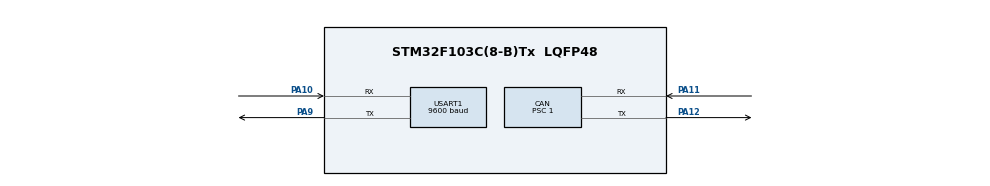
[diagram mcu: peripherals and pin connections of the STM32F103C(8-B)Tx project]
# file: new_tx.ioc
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CAN.BS1=CAN_BS1_11TQ
CAN.BS2=CAN_BS2_4TQ
CAN.CalculateBaudRate=500000
CAN.CalculateTimeBit=2000
CAN.CalculateTimeQuantum=125.0
CAN.Prescaler=1
Mcu.Family=STM32F1
Mcu.Name=STM32F103C(8-B)Tx
Mcu.Package=LQFP48
NVIC.PriorityGroup=NVIC_PRIORITYGROUP_4
NVIC.USB_LP_CAN1_RX0_IRQn=true\:0\:0\:false\:false\:true\:true\:true\:true
PA10.Mode=Asynchronous
PA10.Signal=USART1_RX
PA11.Mode=CAN_Activate
PA11.Signal=CAN_RX
PA12.Mode=CAN_Activate
PA12.Signal=CAN_TX
PA9.Mode=Asynchronous
PA9.Signal=USART1_TX
ProjectManager.HeapSize=0x200
ProjectManager.StackSize=0x400
ProjectManager.TargetToolchain=MDK-ARM V5.32
RCC.APB1Freq_Value=8000000
RCC.APB2Freq_Value=8000000
USART1.BaudRate=9600
USART1.VirtualMode=VM_ASYNC
VP_SYS_VS_ND.Mode=No_Debug
board=custom

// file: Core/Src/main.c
/* USER CODE BEGIN Header */
/**
  ******************************************************************************
  * @file           : main.c
  * @brief          : Main program body
  ******************************************************************************
  * @attention
  *
  * Copyright (c) 2023 STMicroelectronics.
  * All rights reserved.
  *
  * This software is li*********************************************************
  */
/* USER CODE END Header */
#include "main.h"
#include "Bootloader.h"
#include "stm32f1xx_hal_uart.h"
volatile int  StdIdVal,x;
uint32_t rcvData[2];
volatile uint32_t Seq_counter = 0;
volatile uint8_t debg_state = 0;

CAN_HandleTypeDef hcan;
UART_HandleTypeDef huart1;

CAN_TxHeaderTypeDef TxHeader1;
//uint8_t  RxData1[8];
//CAN_RxHeaderTypeDef RxHeader1;

uint8_t TxData[8];

uint32_t TxMailbox[4];

void SystemClock_Config(void);
static void MX_GPIO_Init(void);
static void MX_CAN_Init(void);
static void MX_USART1_UART_Init(void);

int main(void)
{

  HAL_Init();

  SystemClock_Config();

  MX_GPIO_Init();
  MX_CAN_Init();
	MX_USART1_UART_Init();
  /* USER CODE BEGIN 2 */
	HAL_CAN_Start(&hcan);
	HAL_CAN_ActivateNotification(&hcan, CAN_IT_RX_FIFO0_MSG_PENDING);

  TxHeader1.DLC = 0;
	TxHeader1.ExtId = 0;
	TxHeader1.IDE = CAN_ID_STD;
	TxHeader1.RTR = CAN_RTR_DATA;
	TxHeader1.StdId = 12;  // ID

	//bootloader();
	//HAL_CAN_AddTxMessage(&hcan,&TxHeader1,TxData,TxMailbox);
  while (1)
  {

	}
}

void SystemClock_Config(void)
{
  RCC_OscInitTypeDef RCC_OscInitStruct = {0};
  RCC_ClkInitTypeDef RCC_ClkInitStruct = {0};

  RCC_OscInitStruct.OscillatorType = RCC_OSCILLATORTYPE_HSI;
  RCC_OscInitStruct.HSIState = RCC_HSI_ON;
  RCC_OscInitStruct.HSICalibrationValue = RCC_HSICALIBRATION_DEFAULT;
  RCC_OscInitStruct.PLL.PLLState = RCC_PLL_NONE;
  if (HAL_RCC_OscConfig(&RCC_OscInitStruct) != HAL_OK)
  {
    Error_Handler();
  }

  RCC_ClkInitStruct.ClockType = RCC_CLOCKTYPE_HCLK|RCC_CLOCKTYPE_SYSCLK
                              |RCC_CLOCKTYPE_PCLK1|RCC_CLOCKTYPE_PCLK2;
  RCC_ClkInitStruct.SYSCLKSource = RCC_SYSCLKSOURCE_HSI;
  RCC_ClkInitStruct.AHBCLKDivider = RCC_SYSCLK_DIV1;
  RCC_ClkInitStruct.APB1CLKDivider = RCC_HCLK_DIV1;
  RCC_ClkInitStruct.APB2CLKDivider = RCC_HCLK_DIV1;

  if (HAL_RCC_ClockConfig(&RCC_ClkInitStruct, FLASH_LATENCY_0) != HAL_OK)
  {
    Error_Handler();
  }
}

static void MX_CAN_Init(void)
{

  hcan.Instance = CAN1;
  hcan.Init.Prescaler = 1;
  hcan.Init.Mode = CAN_MODE_NORMAL;
  hcan.Init.SyncJumpWidth = CAN_SJW_1TQ;
  hcan.Init.TimeSeg1 = CAN_BS1_12TQ;
  hcan.Init.TimeSeg2 = CAN_BS2_5TQ;
  hcan.Init.TimeTriggeredMode = DISABLE;
  hcan.Init.AutoBusOff = DISABLE;
  hcan.Init.AutoWakeUp = DISABLE;
  hcan.Init.AutoRetransmission = DISABLE;
  hcan.Init.ReceiveFifoLocked = DISABLE;
  hcan.Init.TransmitFifoPriority = DISABLE;
  if (HAL_CAN_Init(&hcan) != HAL_OK)
  {
    Error_Handler();
  }
  /* USER CODE BEGIN CAN_Init 2 */

CAN_FilterTypeDef canfilterconfig1;
    canfilterconfig1.FilterActivation = CAN_FILTER_ENABLE;
    canfilterconfig1.FilterBank = 10;  // which filter bank to use from the assigned ones
    canfilterconfig1.FilterFIFOAssignment = CAN_FILTER_FIFO0;
    canfilterconfig1.FilterIdHigh = 0x007<<5;
    canfilterconfig1.FilterIdLow = 0;
    canfilterconfig1.FilterMaskIdHigh = 0x007<<13;
    canfilterconfig1.FilterMaskIdLow = 0x0000;
    canfilterconfig1.FilterMode = CAN_FILTERMODE_IDMASK;
    canfilterconfig1.FilterScale = CAN_FILTERSCALE_32BIT;
    canfilterconfig1.SlaveStartFilterBank = 13;  // doesn't matter in single can controllers

	CAN_FilterTypeDef canfilterconfig2;
    canfilterconfig2.FilterActivation = CAN_FILTER_ENABLE;
    canfilterconfig2.FilterBank = 10;  // which filter bank to use from the assigned ones
    canfilterconfig2.FilterFIFOAssignment = CAN_FILTER_FIFO0;
    canfilterconfig2.FilterIdHigh = 0x008<<5;
    canfilterconfig2.FilterIdLow = 0;
    canfilterconfig2.FilterMaskIdHigh = 0x008<<13;
    canfilterconfig2.FilterMaskIdLow = 0x0000;
    canfilterconfig2.FilterMode = CAN_FILTERMODE_IDMASK;
    canfilterconfig2.FilterScale = CAN_FILTERSCALE_32BIT;
    canfilterconfig2.SlaveStartFilterBank = 13;  // doesn't matter in single can controllers

CAN_FilterTypeDef canfilterconfig3;
    canfilterconfig3.FilterActivation = CAN_FILTER_ENABLE;
    canfilterconfig3.FilterBank = 10;  // which filter bank to use from the assigned ones
    canfilterconfig3.FilterFIFOAssignment = CAN_FILTER_FIFO0;
    canfilterconfig3.FilterIdHigh = 0x009<<5;
    canfilterconfig3.FilterIdLow = 0;
    canfilterconfig3.FilterMaskIdHigh = 0x009<<13;
    canfilterconfig3.FilterMaskIdLow = 0x0000;
    canfilterconfig3.FilterMode = CAN_FILTERMODE_IDMASK;
    canfilterconfig3.FilterScale = CAN_FILTERSCALE_32BIT;
    canfilterconfig3.SlaveStartFilterBank = 13;  // doesn't matter in single can controllers

CAN_FilterTypeDef canfilterconfig4;
    canfilterconfig4.FilterActivation = CAN_FILTER_ENABLE;
    canfilterconfig4.FilterBank = 10;  // which filter bank to use from the assigned ones
    canfilterconfig4.FilterFIFOAssignment = CAN_FILTER_FIFO0;
    canfilterconfig4.FilterIdHigh = 10<<5;
    canfilterconfig4.FilterIdLow = 0;
    canfilterconfig4.FilterMaskIdHigh = 10<<13;
    canfilterconfig4.FilterMaskIdLow = 0x0000;
    canfilterconfig4.FilterMode = CAN_FILTERMODE_IDMASK;
    canfilterconfig4.FilterScale = CAN_FILTERSCALE_32BIT;
    canfilterconfig4.SlaveStartFilterBank = 13;  // doesn't matter in single can controllers

CAN_FilterTypeDef canfilterconfig5;
    canfilterconfig5.FilterActivation = CAN_FILTER_ENABLE;
    canfilterconfig5.FilterBank = 10;  // which filter bank to use from the assigned ones
    canfilterconfig5.FilterFIFOAssignment = CAN_FILTER_FIFO0;
    canfilterconfig5.FilterIdHigh = 11<<5;
    canfilterconfig5.FilterIdLow = 0;
    canfilterconfig5.FilterMaskIdHigh = 11<<13;
    canfilterconfig5.FilterMaskIdLow = 0x0000;
    canfilterconfig5.FilterMode = CAN_FILTERMODE_IDMASK;
    canfilterconfig5.FilterScale = CAN_FILTERSCALE_32BIT;
    canfilterconfig5.SlaveStartFilterBank = 13;  // doesn't matter in single can controllers

    HAL_CAN_ConfigFilter(&hcan, &canfilterconfig1);
		HAL_CAN_ConfigFilter(&hcan, &canfilterconfig2);
		HAL_CAN_ConfigFilter(&hcan, &canfilterconfig3);
		HAL_CAN_ConfigFilter(&hcan, &canfilterconfig4);
		HAL_CAN_ConfigFilter(&hcan, &canfilterconfig5);
  /* USER CODE END CAN_Init 2 */

}

static void MX_GPIO_Init(void)
{

  /* GPIO Ports Clock Enable */
  __HAL_RCC_GPIOA_CLK_ENABLE();

}

/* USER CODE BEGIN 4 */

/**
  * @brief USART1 Initialization Function
  * @param None
  * @retval None
  */
static void MX_USART1_UART_Init(void)
{

  /* USER CODE BEGIN USART1_Init 0 */

  /* USER CODE END USART1_Init 0 */

  /* USER CODE BEGIN USART1_Init 1 */

  /* USER CODE END USART1_Init 1 */
  huart1.Instance = USART1;
  huart1.Init.BaudRate = 9600;
  huart1.Init.WordLength = UART_WORDLENGTH_8B;
  huart1.Init.StopBits = UART_STOPBITS_1;
  huart1.Init.Parity = UART_PARITY_NONE;
  huart1.Init.Mode = UART_MODE_TX_RX;
  huart1.Init.HwFlowCtl = UART_HWCONTROL_NONE;
  huart1.Init.OverSampling = UART_OVERSAMPLING_16;
  if (HAL_UART_Init(&huart1) != HAL_OK)
  {
    Error_Handler();
  }
  /* USER CODE BEGIN USART1_Init 2 */

  /* USER CODE END USART1_Init 2 */

}

//void HAL_CAN_RxFifo0MsgPendingCallback(CAN_HandleTypeDef *hcan)
//{
//	x++;
//	StdIdVal=(CAN1->sFIFOMailBox[0].RIR >> 21);
//	HAL_CAN_GetRxMessage(hcan, CAN_RX_FIFO0, &RxHeader1, RxData1);
//	HAL_CAN_AddTxMessage(hcan, &TxHeader1, TxData, &TxMailbox[0]);
//}

/* USER CODE END 4 */

void Error_Handler(void)
{
  __disable_irq();
  while (1)
  {
  }
}
